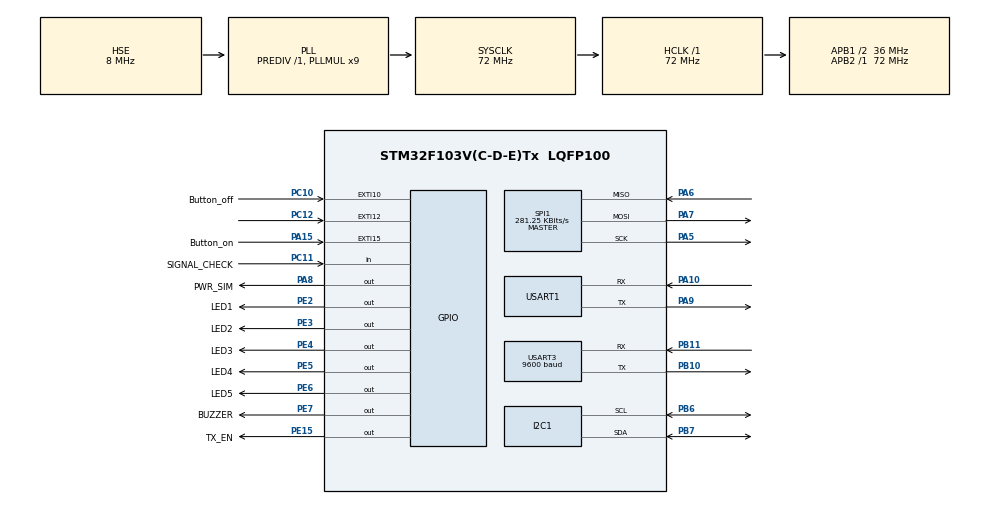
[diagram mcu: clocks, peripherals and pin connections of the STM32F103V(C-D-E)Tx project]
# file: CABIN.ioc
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Dma.Request0=USART1_RX
Dma.USART1_RX.0.Direction=DMA_PERIPH_TO_MEMORY
Dma.USART1_RX.0.Instance=DMA1_Channel5
Dma.USART1_RX.0.MemDataAlignment=DMA_MDATAALIGN_BYTE
Dma.USART1_RX.0.MemInc=DMA_MINC_ENABLE
Dma.USART1_RX.0.Mode=DMA_NORMAL
Dma.USART1_RX.0.PeriphDataAlignment=DMA_PDATAALIGN_BYTE
Dma.USART1_RX.0.PeriphInc=DMA_PINC_DISABLE
Dma.USART1_RX.0.Priority=DMA_PRIORITY_HIGH
FREERTOS.Tasks01=ModbusTask,0,128,StartModbusTask,Default,NULL,Dynamic,NULL,NULL;LcdTask,1,256,StartLcd,Default,NULL,Dynamic,NULL,NULL;TaskSim,2,128,StartSim,Default,NULL,Dynamic,NULL,NULL;StatemachineTas,0,128,StartStateMachine,Default,NULL,Dynamic,NULL,NULL
FREERTOS.configUSE_PREEMPTION=0
Mcu.Family=STM32F1
Mcu.Name=STM32F103V(C-D-E)Tx
Mcu.Package=LQFP100
NVIC.DMA1_Channel5_IRQn=true\:5\:0\:false\:false\:true\:true\:false\:true\:true
NVIC.EXTI15_10_IRQn=true\:5\:0\:false\:false\:true\:true\:true\:true\:true
NVIC.PriorityGroup=NVIC_PRIORITYGROUP_4
NVIC.TIM1_UP_IRQn=true\:15\:0\:false\:false\:true\:false\:false\:true\:true
NVIC.TimeBase=TIM1_UP_IRQn
NVIC.TimeBaseIP=TIM1
NVIC.USART1_IRQn=true\:5\:0\:false\:false\:true\:true\:true\:true\:true
NVIC.USART3_IRQn=true\:5\:0\:false\:false\:true\:true\:true\:true\:true
OSC_IN.Mode=HSE-External-Oscillator
OSC_IN.Signal=RCC_OSC_IN
OSC_OUT.Mode=HSE-External-Oscillator
OSC_OUT.Signal=RCC_OSC_OUT
PA10.Mode=Asynchronous
PA10.Signal=USART1_RX
PA13.Mode=Serial_Wire
PA13.Signal=SYS_JTMS-SWDIO
PA14.Mode=Serial_Wire
PA14.Signal=SYS_JTCK-SWCLK
PA15.GPIO_Label=Button_on
PA15.Signal=GPXTI15
PA5.Mode=Full_Duplex_Master
PA5.Signal=SPI1_SCK
PA6.Mode=Full_Duplex_Master
PA6.Signal=SPI1_MISO
PA7.Mode=Full_Duplex_Master
PA7.Signal=SPI1_MOSI
PA8.GPIO_Label=PWR_SIM
PA8.GPIO_ModeDefaultOutputPP=GPIO_MODE_OUTPUT_PP
PA8.GPIO_PuPd=GPIO_PULLDOWN
PA8.Signal=GPIO_Output
PA9.Mode=Asynchronous
PA9.Signal=USART1_TX
PB10.Mode=Asynchronous
PB10.Signal=USART3_TX
PB11.Mode=Asynchronous
PB11.Signal=USART3_RX
PB6.Mode=I2C
PB6.Signal=I2C1_SCL
PB7.Mode=I2C
PB7.Signal=I2C1_SDA
PC10.GPIO_Label=Button_off
PC10.Signal=GPXTI10
PC11.GPIO_Label=SIGNAL_CHECK
PC11.Signal=GPIO_Input
PC12.Signal=GPXTI12
PE15.GPIO_Label=TX_EN
PE15.Signal=GPIO_Output
PE2.GPIO_Label=LED1
PE2.Signal=GPIO_Output
PE3.GPIO_Label=LED2
PE3.Signal=GPIO_Output
PE4.GPIO_Label=LED3
PE4.Signal=GPIO_Output
PE5.GPIO_Label=LED4
PE5.Signal=GPIO_Output
PE6.GPIO_Label=LED5
PE6.Signal=GPIO_Output
PE7.GPIO_Label=BUZZER
PE7.Signal=GPIO_Output
ProjectManager.HeapSize=0x200
ProjectManager.StackSize=0x400
ProjectManager.TargetToolchain=MDK-ARM V5.32
RCC.AHBFreq_Value=72000000
RCC.APB1CLKDivider=RCC_HCLK_DIV2
RCC.APB1Freq_Value=36000000
RCC.APB1TimFreq_Value=72000000
RCC.APB2Freq_Value=72000000
RCC.APB2TimFreq_Value=72000000
RCC.HCLKFreq_Value=72000000
RCC.PLLMUL=RCC_PLL_MUL9
RCC.PLLSourceVirtual=RCC_PLLSOURCE_HSE
RCC.SYSCLKFreq_VALUE=72000000
RCC.SYSCLKSource=RCC_SYSCLKSOURCE_PLLCLK
RCC.USBFreq_Value=48000000
RCC.USBPrescaler=RCC_USBCLKSOURCE_PLL_DIV1_5
SPI1.BaudRatePrescaler=SPI_BAUDRATEPRESCALER_256
SPI1.CalculateBaudRate=281.25 KBits/s
SPI1.Direction=SPI_DIRECTION_2LINES
SPI1.Mode=SPI_MODE_MASTER
SPI1.VirtualType=VM_MASTER
USART1.VirtualMode=VM_ASYNC
USART3.BaudRate=9600
USART3.VirtualMode=VM_ASYNC
VP_FREERTOS_VS_CMSIS_V1.Mode=CMSIS_V1
VP_SYS_VS_tim1.Mode=TIM1
board=custom

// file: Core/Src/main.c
/* USER CODE BEGIN Header */
/**
  ******************************************************************************
  * @file           : main.c
  * @brief          : Main program body
  ******************************************************************************
  * @attention
  *
  * Copyright (c) 2023 STMicroelectronics.
  * All rights reserved.
  *
  * This software is licensed under terms that can be found in the LICENSE file
  * in the root directory of this software component.
  * If no LICENSE file comes with this software, it is provided AS-IS.
  *
  ******************************************************************************
  */
/* USER CODE END Header */
#include "main.h"
#include "cmsis_os.h"

/* USER CODE BEGIN Includes */
#include "ModbusMaster.h"
#include "uart_sim_async.h"
#include "String.h"
#include <stdio.h>
#include "FLASH_PAGE_F1.h"
#include "i2c-lcd.h"
#include "task.h"
#include "mqtt.h"
#include "FreeRTOS.h"
#include "event.h"
#include "cmsis_os.h"  // Ensure CMSIS-RTOS header is included
/* USER CODE END Includes */

I2C_HandleTypeDef hi2c1;

SPI_HandleTypeDef hspi1;

UART_HandleTypeDef huart1;
UART_HandleTypeDef huart3;
DMA_HandleTypeDef hdma_usart1_rx;

osThreadId ModbusTaskHandle;
osThreadId LcdTaskHandle;
osThreadId TaskSimHandle;
osThreadId StatemachineTasHandle;

void SystemClock_Config(void);
static void MX_GPIO_Init(void);
static void MX_DMA_Init(void);
static void MX_I2C1_Init(void);
static void MX_USART1_UART_Init(void);
static void MX_USART3_UART_Init(void);
static void MX_SPI1_Init(void);
void StartModbusTask(void const * argument);
void StartLcd(void const * argument);
void StartSim(void const * argument);
void StartStateMachine(void const * argument);

/* USER CODE BEGIN PFP */
// task handle

extern TaskHandle_t xModbusTaskHandle;
extern TaskHandle_t xStateMachineTaskHandle;

// END Task handle
uint8_t RxData[256];
uint16_t Data[64];
uint32_t package_receive_MFM=0;
char mess_SIM[128];
uint8_t buffer[160] = {0};
char ATcommand[100];
float mfmdata[64];
uint8_t INIT_SIM=0;
char str[40];

MFMDATA Mfm;

uint8_t ATisOK = 0;
uint8_t CGREGisOK = 0;
//uint8_t Mqtt_connectOk = 0;
uint32_t previousTick;
uint32_t number_package_data_mfm;
const uint32_t timeOut =10000;

const char host[] = "tcp://broker.hivemq.com"; // Change this to your host
const int  port = 1883;

//const char topic[] = "HBCABIN_BD_001";
const char subrice_channel[] = "HBCABIN_BD_001_VL";
char charData[] = "hello test";
char publish_data[2000];

// sim rx
uint8_t rx_buffer[100] = {0};
uint8_t rx_index = 0;
uint8_t rx_data;
#define PREF_SMS_STORAGE "\"SM\""
char mobileNumber[] = "0967221346";
uint32_t Rx_Data_flash[30];
uint8_t slot = 0;
//uint8_t try_connect_mqtt=0;

void SIMTransmit(char *cmd);
void SimSendData(char * data);
//void MQTT_INIT(void);
void data_publish_parse(void);
void mqttPublish(void);

#define START_PAGE_SDT 0x08018000
#define RX_SIM_BUFFER_SIZE 500
uint8_t Rx_Sim_Buffer[RX_SIM_BUFFER_SIZE];
uint16_t size_sim_receive = 0;
Rx_Subrice_Sim  Rx_mess_subrice;
volatile bool modbusDataReceived = false;  // Flag indicating new Modbus data

/* USER CODE END PFP */

/* USER CODE BEGIN 0 */

void HAL_UARTEx_RxEventCallback(UART_HandleTypeDef *huart, uint16_t Size)
{

//	Data[0] = RxData[3]<<8 | RxData[4];
//	Data[1] = RxData[5]<<8 | RxData[6];
//	Data[2] = RxData[7]<<8 | RxData[8];
//	Data[3] = RxData[9]<<8 | RxData[10];
//	mfmdata[0]= f_2uint_float(Data[0],Data[1]);

    if (huart->Instance == USART3)
    {
        // Process the received Modbus data
        Import_data_ARRAY(Data, RxData);
        Import_data_MFM(&Mfm, Data);
        package_receive_MFM++;
				modbusDataReceived = true;
        // Notify the state machine task
//       osSemaphoreRelease(semaphoreStateMachine);

        // Re-enable the UART receive interrupt
        HAL_UARTEx_ReceiveToIdle_IT(&huart3, RxData, 256);
    }

	if(huart->Instance == USART1)
	{
	 HAL_UARTEx_ReceiveToIdle_DMA(&huart1,Rx_Sim_Buffer,RX_SIM_BUFFER_SIZE);
		if(check_data_sim(Rx_Sim_Buffer,"CMTI")){
		if( sscanf((char*)Rx_Sim_Buffer, "\n+CMTI: " PREF_SMS_STORAGE ",%hhd", &slot)==1)
      {
        sprintf(ATcommand,"AT+CMGR=%d\r\n",slot);
        SIMTransmit_ONLY(ATcommand);
      }

		}

		if(check_data_sim(Rx_Sim_Buffer,"CMQTTRXSTART")){ // if have message
					handle_payload_rx_sim(&Rx_mess_subrice,(char *)Rx_Sim_Buffer);
			    if(strcmp(Rx_mess_subrice.topic,subrice_channel) ==0)
					{

						if(check_data_sim((uint8_t *)Rx_mess_subrice.mess , "sdt"))
						{
						 handle_sdt_rx_sim(Rx_mess_subrice.mess,mobileNumber);
							int numofwords = (strlen(mobileNumber)/4)+((strlen(mobileNumber)%4)!=0);

						 Flash_Write_Data(START_PAGE_SDT,(uint32_t * )mobileNumber,numofwords);
						}
					}
				}
	}

//	Data[4] = RxData[11]<<8 | RxData[12];
}
//void SimSendData(char * data){
//				sprintf(ATcommand,"AT+CMGF=1\r\n");
//	  SIMTransmit_ONLY(ATcommand);
//		vTaskDelay(1000);
//		sprintf(ATcommand,"AT+CMGS=\"%s\"\r\n",mobileNumber);
//	  SIMTransmit_ONLY(ATcommand);
//		vTaskDelay(100);
//		sprintf(ATcommand,"%s%c",data,0x1a);
//	  SIMTransmit_ONLY(ATcommand);
//		vTaskDelay(100);

//}
//void MQTT_SUBSCRIBE(char *Channel){
//	sprintf(ATcommand,"AT+CMQTTSUBTOPIC=0,%d,1\r\n",strlen(Channel));
//	SIMTransmit_ONLY(ATcommand);
//	vTaskDelay(100);
//	sprintf(ATcommand,"%s\r\n",Channel);
//	 SIMTransmit_ONLY(ATcommand);
//	 vTaskDelay(100);
// // SIMTransmit(ATcommand);
//	SIMTransmit_ONLY("AT+CMQTTSUB=0\r\n");

//}

//void MQTT_INIT(void)
//{
//	try_connect_mqtt =0;
//	while(CGREGisOK !=1){
//		INIT_SIM = 0;
//  ATisOK = 0;
//  CGREGisOK = 0;
//	Mqtt_connectOk = 0;

//  // Check for OK response for AT
//  previousTick =  HAL_GetTick();
//  while(!ATisOK && previousTick  + timeOut >  HAL_GetTick() )
//  {
//    SIMTransmit_ONLY("AT\r\n");
//    vTaskDelay(100);
//		if(check_data_sim(Rx_Sim_Buffer,"OK") && check_data_sim(Rx_Sim_Buffer,"AT"))ATisOK = 1;
//  }
////	sprintf(ATcommand,"AT+CMGF=1\r\n");
////  SIMTransmit_ONLY(ATcommand);
////  vTaskDelay(1000);
////  sprintf(ATcommand,"AT+CMGS=\"%s\"\r\n",mobileNumber);
////  SIMTransmit_ONLY(ATcommand);
////  vTaskDelay(100);
////	SIMTransmit_ONLY("THIS IS FIRST LINE FOR CUSTOMER \n This is two cmd you can use \n OnContactor: to ON CONTACTOR\n OffContactor: to OFF CONTACTOR \r\n");
//	//tick_test =0;

//  // Check for network registration.
//  if(ATisOK)
//  {
//    previousTick =  HAL_GetTick();
//    while(!CGREGisOK  && previousTick  + timeOut >  HAL_GetTick())
//    {
//      SIMTransmit_ONLY("AT+CGREG?\r\n");
//			vTaskDelay(100);
//			if(check_data_sim(Rx_Sim_Buffer,"+CGREG: 0,1")) CGREGisOK = 1;
//    }
//  }

//  // If registered
//  if(CGREGisOK)
//  {
//		SIMTransmit_ONLY("AT+CMQTTDISC=0,60\r\n"); // Start MQTT Service
//		vTaskDelay(100);
//		SIMTransmit_ONLY("AT+CMQTTREL=0\r\n"); // Start MQTT Service
//		vTaskDelay(100);
//		SIMTransmit_ONLY("AT+CMQTTSTOP\r\n"); // Start MQTT Service
//		vTaskDelay(100);
//   SIMTransmit_ONLY("AT+CMQTTSTART\r\n"); // Start MQTT Service
//		vTaskDelay(100);
//	SIMTransmit_ONLY("AT+CMQTTACCQ=0,\"HBHANOI_CABIN_BD\",0\r\n"); // Acquire a Client
//		vTaskDelay(100);
//	//	SIMTransmit("AT+CMQTTCONNECT=\r\n"); // Acquire a Client
//	//sprintf(ATcommand,"AT+CMQTTCONNECT=0,\"%s:%d\",60,1\r\n",host,port); // Connect to a MQTT Server
//	// sprintf(ATcommand,"AT+CMQTTCONNECT=0,\"%s:%d\",60,1,%s,%s\r\n",host,port,username,password);
//	//SIMTransmit_ONLY(ATcommand);
//	SIMTransmit_ONLY("AT+CMQTTCONNECT=0,\"tcp://broker.hivemq.com:1883\",60,1\r\n");
//	vTaskDelay(1000);
//  if(check_data_sim(Rx_Sim_Buffer,"ERROR"))	{
//	Mqtt_connectOk = 0;
//	try_connect_mqtt ++;
//	if(try_connect_mqtt > 15)// if can't connect to mqtt sever reset module
//	{
//	 try_connect_mqtt =0;
//		SIMTransmit_ONLY("AT+CRESET\r\n");
//	}
//	}
//	else Mqtt_connectOk =1;
////
//	//sprintf(ATcommand,"AT+CMQTTSUBTOPIC=0,%d,1\r\n",strlen(subrice_channel)); // Connect to a MQTT Server
//	if(Mqtt_connectOk == 1){
//
//			 MQTT_SUBSCRIBE((char *)subrice_channel);
//			 vTaskDelay(1000);
//			 if(check_data_sim(Rx_Sim_Buffer,"ERROR"))	CGREGisOK = 0;
//			//
//				vTaskDelay(100);
//				}
//	else CGREGisOK = 0;
//}
//
//}
//}

//void data_publish_parse(void){
//	uint8_t data_check_signal = 0;
//	if(HAL_GPIO_ReadPin(SIGNAL_CHECK_GPIO_Port,SIGNAL_CHECK_Pin) == 0) data_check_signal = 1;
//	else data_check_signal = 0;
//	sprintf(publish_data,"{\"VLN\": [%.2f, %.2f,%.2f, %.2f],\"VLL\": [%.2f, %.2f,%.2f, %.2f],\"I\": [%.2f, %.2f,%.2f, %.2f],\"KW\": [%.2f, %.2f,%.2f],\"FRE\": %.2f,\"KWH\": %.2f,\"STS\":%d}",
//	Mfm.VOLT_V1N,
//	Mfm.VOLT_V2N,
//	Mfm.VOLT_V3N,
//	Mfm.AVERAGE_V_LN,
//	Mfm.VOLT_V12,
//	Mfm.VOLT_V23,
//	Mfm.VOLT_V31,
//	Mfm.AVERAGE_V_LL,
//	Mfm.I1,
//	Mfm.I2,
//	Mfm.I3,
//	Mfm.AVERAGE_I,
//	Mfm.KW1,
//	Mfm.KW2,
//	Mfm.KW3,
//	Mfm.FREQUENCY,
//	Mfm.KWH,
//	data_check_signal
//	);

//}
//void mqttPublish(void)
//{
//	sprintf(ATcommand,"AT+CMQTTTOPIC=0,%d\r\n",strlen(topic)); // Set the topic for publish message
//	SIMTransmit_ONLY(ATcommand);
//		vTaskDelay(100);
//	sprintf(ATcommand,"%s\r\n",topic);
//	SIMTransmit_ONLY(ATcommand);
//  data_publish_parse();
//		//sprintf(publish_data,"HEKKKK %d",1);
//	sprintf(ATcommand,"AT+CMQTTPAYLOAD=0,%d\r\n",strlen(publish_data)); // Set the payload
//		vTaskDelay(100);
//	SIMTransmit_ONLY(ATcommand);
//		vTaskDelay(100);
//	SIMTransmit_ONLY(publish_data);
//		vTaskDelay(100);
//	SIMTransmit_ONLY("AT+CMQTTPUB=0,1,60\r\n"); // Publish
////	number_package_data_mfm = package_receive_MFM;
////  }
//}

/* USER CODE END 0 */

int main(void)
{

  /* MCU Configuration--------------------------------------------------------*/

  /* Reset of all peripherals, Initializes the Flash interface and the Systick. */
  HAL_Init();

  /* Configure the system clock */
  SystemClock_Config();

  /* Initialize all configured peripherals */
  MX_GPIO_Init();
  MX_DMA_Init();
  MX_I2C1_Init();
  MX_USART1_UART_Init();
  MX_USART3_UART_Init();
  MX_SPI1_Init();
  /* USER CODE BEGIN 2 */
  HAL_UARTEx_ReceiveToIdle_IT(&huart3, RxData, 256);
	HAL_UARTEx_ReceiveToIdle_DMA(&huart1, Rx_Sim_Buffer, RX_SIM_BUFFER_SIZE);
  __HAL_DMA_DISABLE_IT(&hdma_usart1_rx, DMA_IT_HT);
		//Flash_Read_Data(START_PAGE_SDT,Rx_Data_flash,20);
		//Convert_To_Str(Rx_Data_flash, mobileNumber);
//	while(!checkSimConnection()){}
//	while(!checkSignalQuality()){}
//	while(!checkMqttConnection()){}
//	while(!MQTT_INIT()){}
//	MX_IWDG_Init();
  /* USER CODE END 2 */

  /* USER CODE BEGIN RTOS_SEMAPHORES */
  /* add semaphores, ... */

    /* Create semaphores */
//    osSemaphoreDef(semaphoreModbus);
//    semaphoreModbus = osSemaphoreCreate(osSemaphore(semaphoreModbus), 1);
//
//    osSemaphoreDef(semaphoreStateMachine);
//    semaphoreStateMachine = osSemaphoreCreate(osSemaphore(semaphoreStateMachine), 1);

//    if ((semaphoreModbus == NULL) || (semaphoreStateMachine == NULL)) {
//        // Semaphore creation failed
//        Error_Handler();
//    }
  /* USER CODE END RTOS_SEMAPHORES */

  /* Create the thread(s) */
  /* definition and creation of ModbusTask */
  osThreadDef(ModbusTask, StartModbusTask, osPriorityNormal, 0, 128);
  ModbusTaskHandle = osThreadCreate(osThread(ModbusTask), NULL);

  /* definition and creation of LcdTask */
  osThreadDef(LcdTask, StartLcd, osPriorityAboveNormal, 0, 256);
  LcdTaskHandle = osThreadCreate(osThread(LcdTask), NULL);

  /* definition and creation of TaskSim */
  osThreadDef(TaskSim, StartSim, osPriorityHigh, 0, 128);
  TaskSimHandle = osThreadCreate(osThread(TaskSim), NULL);

  /* definition and creation of StatemachineTas */
  osThreadDef(StatemachineTas, StartStateMachine, osPriorityNormal, 0, 128);
  StatemachineTasHandle = osThreadCreate(osThread(StatemachineTas), NULL);

  /* Start scheduler */
  osKernelStart();
  /* We should never get here as control is now taken by the scheduler */
  /* Infinite loop */
  while (1)
  {

  }
}

void SystemClock_Config(void)
{
  RCC_OscInitTypeDef RCC_OscInitStruct = {0};
  RCC_ClkInitTypeDef RCC_ClkInitStruct = {0};

  /** Initializes the RCC Oscillators according to the specified parameters
  * in the RCC_OscInitTypeDef structure.
  */
  RCC_OscInitStruct.OscillatorType = RCC_OSCILLATORTYPE_HSE;
  RCC_OscInitStruct.HSEState = RCC_HSE_ON;
  RCC_OscInitStruct.HSEPredivValue = RCC_HSE_PREDIV_DIV1;
  RCC_OscInitStruct.HSIState = RCC_HSI_ON;
  RCC_OscInitStruct.PLL.PLLState = RCC_PLL_ON;
  RCC_OscInitStruct.PLL.PLLSource = RCC_PLLSOURCE_HSE;
  RCC_OscInitStruct.PLL.PLLMUL = RCC_PLL_MUL9;
  if (HAL_RCC_OscConfig(&RCC_OscInitStruct) != HAL_OK)
  {
    Error_Handler();
  }

  /** Initializes the CPU, AHB and APB buses clocks
  */
  RCC_ClkInitStruct.ClockType = RCC_CLOCKTYPE_HCLK|RCC_CLOCKTYPE_SYSCLK
                              |RCC_CLOCKTYPE_PCLK1|RCC_CLOCKTYPE_PCLK2;
  RCC_ClkInitStruct.SYSCLKSource = RCC_SYSCLKSOURCE_PLLCLK;
  RCC_ClkInitStruct.AHBCLKDivider = RCC_SYSCLK_DIV1;
  RCC_ClkInitStruct.APB1CLKDivider = RCC_HCLK_DIV2;
  RCC_ClkInitStruct.APB2CLKDivider = RCC_HCLK_DIV1;

  if (HAL_RCC_ClockConfig(&RCC_ClkInitStruct, FLASH_LATENCY_2) != HAL_OK)
  {
    Error_Handler();
  }
}

static void MX_I2C1_Init(void)
{

  hi2c1.Instance = I2C1;
  hi2c1.Init.ClockSpeed = 100000;
  hi2c1.Init.DutyCycle = I2C_DUTYCYCLE_2;
  hi2c1.Init.OwnAddress1 = 0;
  hi2c1.Init.AddressingMode = I2C_ADDRESSINGMODE_7BIT;
  hi2c1.Init.DualAddressMode = I2C_DUALADDRESS_DISABLE;
  hi2c1.Init.OwnAddress2 = 0;
  hi2c1.Init.GeneralCallMode = I2C_GENERALCALL_DISABLE;
  hi2c1.Init.NoStretchMode = I2C_NOSTRETCH_DISABLE;
  if (HAL_I2C_Init(&hi2c1) != HAL_OK)
  {
    Error_Handler();
  }

}

static void MX_SPI1_Init(void)
{

  /* SPI1 parameter configuration*/
  hspi1.Instance = SPI1;
  hspi1.Init.Mode = SPI_MODE_MASTER;
  hspi1.Init.Direction = SPI_DIRECTION_2LINES;
  hspi1.Init.DataSize = SPI_DATASIZE_8BIT;
  hspi1.Init.CLKPolarity = SPI_POLARITY_LOW;
  hspi1.Init.CLKPhase = SPI_PHASE_1EDGE;
  hspi1.Init.NSS = SPI_NSS_SOFT;
  hspi1.Init.BaudRatePrescaler = SPI_BAUDRATEPRESCALER_256;
  hspi1.Init.FirstBit = SPI_FIRSTBIT_MSB;
  hspi1.Init.TIMode = SPI_TIMODE_DISABLE;
  hspi1.Init.CRCCalculation = SPI_CRCCALCULATION_DISABLE;
  hspi1.Init.CRCPolynomial = 10;
  if (HAL_SPI_Init(&hspi1) != HAL_OK)
  {
    Error_Handler();
  }

}

static void MX_USART1_UART_Init(void)
{

  huart1.Instance = USART1;
  huart1.Init.BaudRate = 115200;
  huart1.Init.WordLength = UART_WORDLENGTH_8B;
  huart1.Init.StopBits = UART_STOPBITS_1;
  huart1.Init.Parity = UART_PARITY_NONE;
  huart1.Init.Mode = UART_MODE_TX_RX;
  huart1.Init.HwFlowCtl = UART_HWCONTROL_NONE;
  huart1.Init.OverSampling = UART_OVERSAMPLING_16;
  if (HAL_UART_Init(&huart1) != HAL_OK)
  {
    Error_Handler();
  }

}

static void MX_USART3_UART_Init(void)
{

  huart3.Instance = USART3;
  huart3.Init.BaudRate = 9600;
  huart3.Init.WordLength = UART_WORDLENGTH_8B;
  huart3.Init.StopBits = UART_STOPBITS_1;
  huart3.Init.Parity = UART_PARITY_NONE;
  huart3.Init.Mode = UART_MODE_TX_RX;
  huart3.Init.HwFlowCtl = UART_HWCONTROL_NONE;
  huart3.Init.OverSampling = UART_OVERSAMPLING_16;
  if (HAL_UART_Init(&huart3) != HAL_OK)
  {
    Error_Handler();
  }

}

static void MX_DMA_Init(void)
{

  /* DMA controller clock enable */
  __HAL_RCC_DMA1_CLK_ENABLE();

  /* DMA interrupt init */
  /* DMA1_Channel5_IRQn interrupt configuration */
  HAL_NVIC_SetPriority(DMA1_Channel5_IRQn, 5, 0);
  HAL_NVIC_EnableIRQ(DMA1_Channel5_IRQn);

}

static void MX_GPIO_Init(void)
{
  GPIO_InitTypeDef GPIO_InitStruct = {0};

  /* GPIO Ports Clock Enable */
  __HAL_RCC_GPIOE_CLK_ENABLE();
  __HAL_RCC_GPIOA_CLK_ENABLE();
  __HAL_RCC_GPIOB_CLK_ENABLE();
  __HAL_RCC_GPIOC_CLK_ENABLE();

  /*Configure GPIO pin Output Level */
  HAL_GPIO_WritePin(GPIOE, LED1_Pin|LED2_Pin|LED3_Pin|LED4_Pin
                          |LED5_Pin|BUZZER_Pin|TX_EN_Pin, GPIO_PIN_RESET);

  /*Configure GPIO pin Output Level */
  HAL_GPIO_WritePin(PWR_SIM_GPIO_Port, PWR_SIM_Pin, GPIO_PIN_RESET);

  /*Configure GPIO pins : LED1_Pin LED2_Pin LED3_Pin LED4_Pin
                           LED5_Pin BUZZER_Pin TX_EN_Pin */
  GPIO_InitStruct.Pin = LED1_Pin|LED2_Pin|LED3_Pin|LED4_Pin
                          |LED5_Pin|BUZZER_Pin|TX_EN_Pin;
  GPIO_InitStruct.Mode = GPIO_MODE_OUTPUT_PP;
  GPIO_InitStruct.Pull = GPIO_NOPULL;
  GPIO_InitStruct.Speed = GPIO_SPEED_FREQ_LOW;
  HAL_GPIO_Init(GPIOE, &GPIO_InitStruct);

  /*Configure GPIO pin : PWR_SIM_Pin */
  GPIO_InitStruct.Pin = PWR_SIM_Pin;
  GPIO_InitStruct.Mode = GPIO_MODE_OUTPUT_PP;
  GPIO_InitStruct.Pull = GPIO_PULLDOWN;
  GPIO_InitStruct.Speed = GPIO_SPEED_FREQ_LOW;
  HAL_GPIO_Init(PWR_SIM_GPIO_Port, &GPIO_InitStruct);

  /*Configure GPIO pin : Button_on_Pin */
  GPIO_InitStruct.Pin = Button_on_Pin;
  GPIO_InitStruct.Mode = GPIO_MODE_IT_RISING;
  GPIO_InitStruct.Pull = GPIO_NOPULL;
  HAL_GPIO_Init(Button_on_GPIO_Port, &GPIO_InitStruct);

  /*Configure GPIO pins : Button_off_Pin PC12 */
  GPIO_InitStruct.Pin = Button_off_Pin|GPIO_PIN_12;
  GPIO_InitStruct.Mode = GPIO_MODE_IT_RISING;
  GPIO_InitStruct.Pull = GPIO_NOPULL;
  HAL_GPIO_Init(GPIOC, &GPIO_InitStruct);

  /*Configure GPIO pin : SIGNAL_CHECK_Pin */
  GPIO_InitStruct.Pin = SIGNAL_CHECK_Pin;
  GPIO_InitStruct.Mode = GPIO_MODE_INPUT;
  GPIO_InitStruct.Pull = GPIO_NOPULL;
  HAL_GPIO_Init(SIGNAL_CHECK_GPIO_Port, &GPIO_InitStruct);

  /* EXTI interrupt init*/
  HAL_NVIC_SetPriority(EXTI15_10_IRQn, 5, 0);
  HAL_NVIC_EnableIRQ(EXTI15_10_IRQn);

}

/* USER CODE BEGIN 4 */
//void StartTask_read_M(void const * argument)
//{
//  /* USER CODE BEGIN 5 */
//  /* Infinite loop */
//  for(;;)
//  {
//    poll_request_read_res(0x01,0x04,0,64);
//
//
//    vTaskDelay(100);
//  }
//  /* USER CODE END 5 */
//}
//void StartCommunicati(void const * argument)
//{
//  /* USER CODE BEGIN StartCommunicati */
//  /* Infinite loop */
//  for(;;)
//  {
//    MQTT_INIT();
//	SimSendData("THIS IS FIRST LINE FOR CUSTOMER \
//it has 2 statements you can use: OnContactor \
//to close contactor \
//and OffContactor to disconnect contactor");
//  /* Infinite loop */
//  for(;;)
//  {
//		//if(package_receive_MFM != number_package_data_mfm)
//			mqttPublish();
//		if(Mfm.AVERAGE_I > 5)
//			SimSendData("CURRENT IS GREATER THAN 5A");
//    vTaskDelay(1000);
//  }
//  }
//  /* USER CODE END StartCommunicati */
//}
//void StartPeripheral(void const * argument)
//{
//  /* USER CODE BEGIN StartPeripheral */
//	lcd_clear();
//  /* Infinite loop */
//  for(;;)
//  {
//    	//lcd_clear();
//    if(Mqtt_connectOk == 1){
//		setCursor(0,0);
//		lcd_send_string("HBE CONTROLLER");
//		setCursor(0,1);
//		sprintf(str,"SDT:%s",mobileNumber);
//		lcd_send_string(str);
//		setCursor(0,2);
//
//		HAL_GPIO_ReadPin(SIGNAL_CHECK_GPIO_Port,SIGNAL_CHECK_Pin) == 0 ? lcd_send_string("STATUS OUTPUT: CLOSE") : lcd_send_string("STATUS OUTPUT: OPEN ");
//		//lcd_send_string("STATUS OUTPUT:");
//		setCursor(0,3);
//		sprintf(str,"Package MFM:%d",package_receive_MFM);
//		lcd_send_string(str);
//		HAL_IWDG_Refresh(&hiwdg);
//    vTaskDelay(50);
//
//		}
//		if(Mqtt_connectOk == 0){
//		setCursor(0,0);
//		lcd_send_string("HBE INIT");
//		setCursor(0,1);
//			ATisOK  == 1 ? lcd_send_string("AT RESPONSE: OK ") : lcd_send_string("AT RESPONSE: NOK");
//   	setCursor(0,2);
//			CGREGisOK  == 1 ? lcd_send_string("INTERNET: OK ") : lcd_send_string("INTERNET: NOK");
//			setCursor(0,3);
//			Mqtt_connectOk  == 1 ? lcd_send_string("MQTT: OK ") : lcd_send_string("MQTT: NOK");
//
//
//		}
//  }
//  /* USER CODE END StartPeripheral */
//}

/* USER CODE END 4 */

//void StartModbusTask(void const * argument)
//{
//  /* USER CODE BEGIN 5 */
////  /* Infinite loop */
////  for(;;)
////  {
////    poll_request_read_res(0x01,0x04,0,64);
////
////
////    vTaskDelay(100);
////  }
//  /* USER CODE END 5 */
//}

/* USER CODE BEGIN Header_StartLcd */
/////////**
////////* @brief Function implementing the LcdTask thread.
////////* @param argument: Not used
////////* @retval None
////////*/
/* USER CODE END Header_StartLcd */
//void StartLcd(void const * argument)
//{
//  /* USER CODE BEGIN StartLcd */
////  /* Infinite loop */
////  for(;;)
////  {
////    osDelay(1);
////  }
//  /* USER CODE END StartLcd */
//}

/* USER CODE BEGIN Header_StartSim */
/////////**
////////* @brief Function implementing the TaskSim thread.
////////* @param argument: Not used
////////* @retval None
////////*/
/* USER CODE END Header_StartSim */
//void StartSim(void const * argument)
//{
//  /* USER CODE BEGIN StartSim */
////  /* Infinite loop */
////  for(;;)
////  {
////    osDelay(1);
////  }
//  /* USER CODE END StartSim */
//}

/* USER CODE BEGIN Header_StartStateMachine */
/////////**
////////* @brief Function implementing the StatemachineTas thread.
////////* @param argument: Not used
////////* @retval None
////////*/
/* USER CODE END Header_StartStateMachine */
//void StartStateMachine(void const * argument)
//{
//  /* USER CODE BEGIN StartStateMachine */
//////  /* Infinite loop */
//////  for(;;)
//////  {
//////    osDelay(1);
//////  }
//  /* USER CODE END StartStateMachine */
//}

void HAL_TIM_PeriodElapsedCallback(TIM_HandleTypeDef *htim)
{
  if (htim->Instance == TIM1) {
    HAL_IncTick();
  }
}

void Error_Handler(void)
{
  __disable_irq();
  while (1)
  {
  }
}
